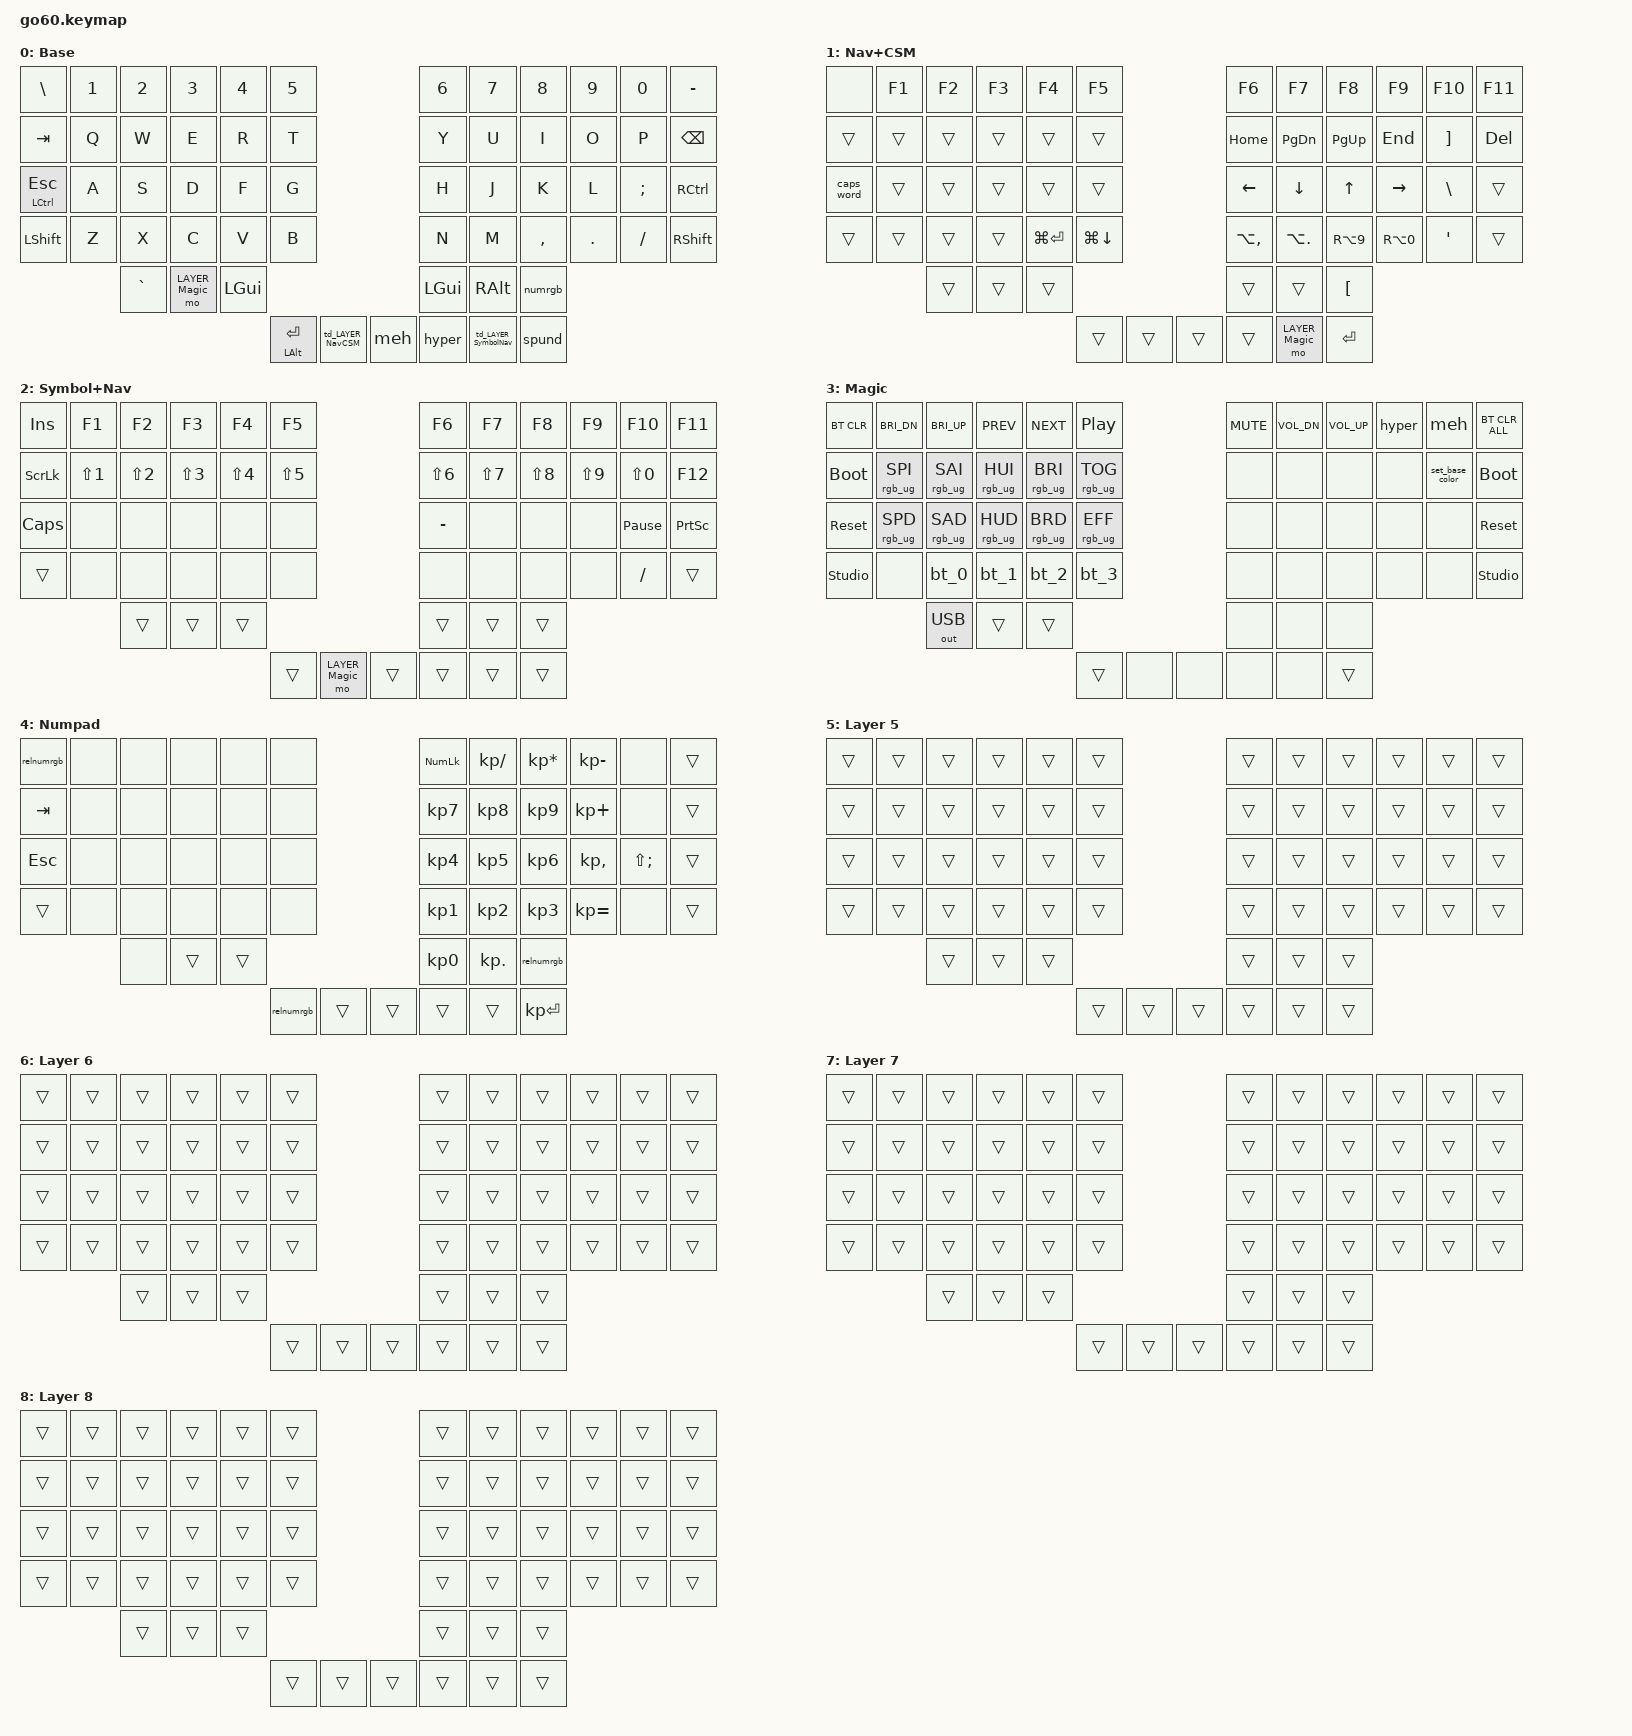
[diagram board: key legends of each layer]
/*
 * Copyright (c) 2020 The ZMK Contributors
 *
 * SPDX-License-Identifier: MIT
 */

#include <behaviors.dtsi>

#include <dt-bindings/zmk/bt.h>
#include <dt-bindings/zmk/ext_power.h>
#include <dt-bindings/zmk/keys.h>
#include <dt-bindings/zmk/outputs.h>
#include <dt-bindings/zmk/rgb.h>
#include <dt-bindings/zmk/input_transform.h>
#include <dt-bindings/zmk/pointing.h>

#include <input/processors.dtsi>
#include <zephyr/dt-bindings/input/input-event-codes.h>

// layers
#define LAYER_Base 0
#define LAYER_NavCSM 1
#define LAYER_SymbolNav 2
#define LAYER_Magic 3
#define LAYER_Numpad 4

/ {
    input_processors {
        zip_click_to_right_click_mapper: zip_click_to_right_click_mapper {
            compatible = "zmk,input-processor-code-mapper";
            #input-processor-cells = <0>;
            type = <INPUT_EV_KEY>;
            map = <INPUT_BTN_0 INPUT_BTN_1>;
        };
    };

    behaviors {
        magic: magic {
            compatible = "zmk,behavior-hold-tap";
            #binding-cells = <2>;
            flavor = "tap-preferred";
            tapping-term-ms = <200>;
            bindings = <&mo>, <&rgb_ug_status_macro>;
        };

        spund: space_underscore {
            compatible = "zmk,behavior-mod-morph";
            #binding-cells = <0>;
            bindings = <&kp SPC>, <&kp UNDER>;
            mods = <(MOD_LSFT|MOD_RSFT)>;
        };

        td_LAYER_NavCSM: td_LAYER_NavCSM {
            compatible = "zmk,behavior-tap-dance";
            #binding-cells = <0>;
            tapping-term-ms = <200>;
            bindings = <&mo LAYER_NavCSM>, <&to LAYER_NavCSM>;
        };

        td_LAYER_SymbolNav: td_LAYER_SymbolNav {
            compatible = "zmk,behavior-tap-dance";
            #binding-cells = <0>;
            tapping-term-ms = <200>;
            bindings = <&mo LAYER_SymbolNav>, <&to LAYER_SymbolNav>;
        };

        bt_0: bt_0 {
            compatible = "zmk,behavior-tap-dance";
            #binding-cells = <0>;
            tapping-term-ms = <200>;
            bindings = <&bt_select_0>, <&bt BT_DISC 0>;
        };
        bt_1: bt_1 {
            compatible = "zmk,behavior-tap-dance";
            #binding-cells = <0>;
            tapping-term-ms = <200>;
            bindings = <&bt_select_1>, <&bt BT_DISC 1>;
        };
        bt_2: bt_2 {
            compatible = "zmk,behavior-tap-dance";
            #binding-cells = <0>;
            tapping-term-ms = <200>;
            bindings = <&bt_select_2>, <&bt BT_DISC 2>;
        };
        bt_3: bt_3 {
            compatible = "zmk,behavior-tap-dance";
            #binding-cells = <0>;
            tapping-term-ms = <200>;
            bindings = <&bt_select_3>, <&bt BT_DISC 3>;
        };
    };

    macros {
        set_base_color: set_base_color {
            compatible = "zmk,behavior-macro";
            #binding-cells = <0>;
            bindings = <&macro_tap>
                , <&rgb_ug RGB_COLOR_HSB(216, 100, 50)>;
        };

        set_numpad_color: set_numpad_color {
            compatible = "zmk,behavior-macro";
            #binding-cells = <0>;
            bindings = <&macro_tap>
                , <&rgb_ug RGB_COLOR_HSB(160, 100, 50)>;
        };

        numrgb: numrgb {
            compatible = "zmk,behavior-macro";
            #binding-cells = <0>;
            bindings = <&tog LAYER_Numpad>
                , <&macro_tap>
                , <&set_numpad_color>;
        };

        relnumrgb: relnumrgb {
            compatible = "zmk,behavior-macro";
            #binding-cells = <0>;
            bindings = <&tog LAYER_Numpad>
                , <&macro_tap>
                , <&set_base_color>;
        };

        rgb_ug_status_macro: rgb_ug_status_macro {
            compatible = "zmk,behavior-macro";
            #binding-cells = <0>;
            bindings = <&rgb_ug RGB_STATUS>;
        };

        hyper: hyper {
            compatible = "zmk,behavior-macro";
            #binding-cells = <0>;
            bindings
                = <&macro_press &kp LCTRL &kp LALT &kp LSHFT &kp LGUI>
                , <&macro_pause_for_release>
                , <&macro_release &kp LCTRL &kp LALT &kp LSHFT &kp LGUI>;
        };

        meh: meh {
            compatible = "zmk,behavior-macro";
            #binding-cells = <0>;
            bindings
                = <&macro_press &kp LCTRL &kp LALT &kp LSHFT>
                , <&macro_pause_for_release>
                , <&macro_release &kp LCTRL &kp LALT &kp LSHFT>;
        };

        bt_select_0: bt_select_0 {
            compatible = "zmk,behavior-macro";
            #binding-cells = <0>;
            bindings
                = <&out OUT_BLE>,
                  <&bt BT_SEL 0>;
        };
        bt_select_1: bt_select_1 {
            compatible = "zmk,behavior-macro";
            #binding-cells = <0>;
            bindings
                = <&out OUT_BLE>,
                  <&bt BT_SEL 1>;
        };
        bt_select_2: bt_select_2 {
            compatible = "zmk,behavior-macro";
            #binding-cells = <0>;
            bindings
                = <&out OUT_BLE>,
                  <&bt BT_SEL 2>;
        };
        bt_select_3: bt_select_3 {
            compatible = "zmk,behavior-macro";
            #binding-cells = <0>;
            bindings
                = <&out OUT_BLE>,
                  <&bt BT_SEL 3>;
        };
    };

    keymap {
        compatible = "zmk,keymap";


        layer_Base {
            display-name = "Base";
            bindings = <
      &kp BSLH  &kp N1     &kp N2           &kp N3    &kp N4  &kp N5                                                                                                         &kp N6    &kp N7     &kp N8   &kp N9    &kp N0  &kp MINUS
       &kp TAB   &kp Q      &kp W            &kp E     &kp R   &kp T                                                                                                          &kp Y     &kp U      &kp I    &kp O     &kp P   &kp BSPC
 &mt LCTRL ESC   &kp A      &kp S            &kp D     &kp F   &kp G                                                                                                          &kp H     &kp J      &kp K    &kp L  &kp SEMI  &kp RCTRL
     &kp LSHFT   &kp Z      &kp X            &kp C     &kp V   &kp B                                                                                                          &kp N     &kp M  &kp COMMA  &kp DOT  &kp FSLH  &kp RSHFT
                        &kp GRAVE  &mo LAYER_Magic  &kp LGUI                                                                                                                         &kp LGUI   &kp RALT  &numrgb
                                                                       &mt LALT RET  &td_LAYER_NavCSM  &meh  &hyper  &td_LAYER_SymbolNav  &spund
            >;
        };

        layer_NavCSM {
            display-name = "Nav+CSM";
            bindings = <
      &none  &kp F1  &kp F2  &kp F3       &kp F4        &kp F5                                                                                &kp F6       &kp F7      &kp F8      &kp F9   &kp F10  &kp F11
     &trans  &trans  &trans  &trans       &trans        &trans                                                                              &kp HOME    &kp PG_DN   &kp PG_UP     &kp END  &kp RBKT  &kp DEL
 &caps_word  &trans  &trans  &trans       &trans        &trans                                                                              &kp LEFT     &kp DOWN      &kp UP   &kp RIGHT  &kp BSLH   &trans
     &trans  &trans  &trans  &trans  &kp LG(RET)  &kp LG(DOWN)                                                                         &kp LA(COMMA)  &kp LA(DOT)  &kp RA(N9)  &kp RA(N0)   &kp SQT   &trans
                     &trans  &trans       &trans                                                                                                           &trans      &trans    &kp LBKT
                                                                &trans  &trans  &trans  &trans  &mo LAYER_Magic  &kp RET
            >;
        };

        layer_SymbolNav {
            display-name = "Symbol+Nav";
            bindings = <
  &kp INS      &kp F1      &kp F2      &kp F3      &kp F4      &kp F5                                                               &kp F6      &kp F7      &kp F8      &kp F9          &kp F10    &kp F11
 &kp SLCK  &kp LS(N1)  &kp LS(N2)  &kp LS(N3)  &kp LS(N4)  &kp LS(N5)                                                           &kp LS(N6)  &kp LS(N7)  &kp LS(N8)  &kp LS(N9)       &kp LS(N0)    &kp F12
 &kp CAPS       &none       &none       &none       &none       &none                                                            &kp MINUS       &none       &none       &none  &kp PAUSE_BREAK  &kp PSCRN
   &trans       &none       &none       &none       &none       &none                                                                &none       &none       &none       &none         &kp FSLH     &trans
                           &trans      &trans      &trans                                                                                       &trans      &trans      &trans
                                                                       &trans  &mo LAYER_Magic  &trans  &trans  &trans  &trans
            >;
        };

        layer_Magic {
            display-name = "Magic";
            bindings = <
     &bt BT_CLR     &kp C_BRI_DN     &kp C_BRI_UP       &kp C_PREV       &kp C_NEXT         &kp C_PP                                                  &kp C_MUTE  &kp C_VOL_DN  &kp C_VOL_UP   &hyper           &meh  &bt BT_CLR_ALL
    &bootloader  &rgb_ug RGB_SPI  &rgb_ug RGB_SAI  &rgb_ug RGB_HUI  &rgb_ug RGB_BRI  &rgb_ug RGB_TOG                                                       &none         &none         &none   &none  &set_base_color     &bootloader
     &sys_reset  &rgb_ug RGB_SPD  &rgb_ug RGB_SAD  &rgb_ug RGB_HUD  &rgb_ug RGB_BRD  &rgb_ug RGB_EFF                                                       &none         &none         &none   &none            &none      &sys_reset
 &studio_unlock            &none            &bt_0            &bt_1            &bt_2            &bt_3                                                       &none         &none         &none   &none            &none  &studio_unlock
                                     &out OUT_USB           &trans           &trans                                                                                      &none         &none   &none
                                                                                                      &trans   &none   &none   &none   &none  &trans
            >;
        };

        layer_Numpad {
            display-name = "Numpad";
            bindings = <
  &relnumrgb   &none   &none   &none   &none   &none                                                            &kp KP_NUM  &kp KP_SLASH  &kp KP_MULTIPLY  &kp KP_MINUS         &none  &trans
     &kp TAB   &none   &none   &none   &none   &none                                                             &kp KP_N7     &kp KP_N8        &kp KP_N9   &kp KP_PLUS         &none  &trans
     &kp ESC   &none   &none   &none   &none   &none                                                             &kp KP_N4     &kp KP_N5        &kp KP_N6  &kp KP_COMMA  &kp LS(SEMI)  &trans
      &trans   &none   &none   &none   &none   &none                                                             &kp KP_N1     &kp KP_N2        &kp KP_N3  &kp KP_EQUAL         &none  &trans
                       &none  &trans  &trans                                                                                   &kp KP_N0       &kp KP_DOT    &relnumrgb
                                                      &relnumrgb  &trans  &trans  &trans  &trans  &kp KP_ENTER
            >;
        };

        layer_5 {
            display-name = "Layer 5";
            bindings = <
      &trans  &trans  &trans  &trans  &trans  &trans                                                                 &trans  &trans  &trans  &trans  &trans  &trans
      &trans  &trans  &trans  &trans  &trans  &trans                                                                 &trans  &trans  &trans  &trans  &trans  &trans
      &trans  &trans  &trans  &trans  &trans  &trans                                                                 &trans  &trans  &trans  &trans  &trans  &trans
      &trans  &trans  &trans  &trans  &trans  &trans                                                                 &trans  &trans  &trans  &trans  &trans  &trans
                       &trans  &trans  &trans                                                                       &trans  &trans  &trans
                                                       &trans  &trans  &trans  &trans  &trans  &trans
            >;
        };

        layer_6 {
            display-name = "Layer 6";
            bindings = <
      &trans  &trans  &trans  &trans  &trans  &trans                                                                 &trans  &trans  &trans  &trans  &trans  &trans
      &trans  &trans  &trans  &trans  &trans  &trans                                                                 &trans  &trans  &trans  &trans  &trans  &trans
      &trans  &trans  &trans  &trans  &trans  &trans                                                                 &trans  &trans  &trans  &trans  &trans  &trans
      &trans  &trans  &trans  &trans  &trans  &trans                                                                 &trans  &trans  &trans  &trans  &trans  &trans
                       &trans  &trans  &trans                                                                       &trans  &trans  &trans
                                                       &trans  &trans  &trans  &trans  &trans  &trans
            >;
        };

        layer_7 {
            display-name = "Layer 7";
            bindings = <
      &trans  &trans  &trans  &trans  &trans  &trans                                                                 &trans  &trans  &trans  &trans  &trans  &trans
      &trans  &trans  &trans  &trans  &trans  &trans                                                                 &trans  &trans  &trans  &trans  &trans  &trans
      &trans  &trans  &trans  &trans  &trans  &trans                                                                 &trans  &trans  &trans  &trans  &trans  &trans
      &trans  &trans  &trans  &trans  &trans  &trans                                                                 &trans  &trans  &trans  &trans  &trans  &trans
                       &trans  &trans  &trans                                                                       &trans  &trans  &trans
                                                       &trans  &trans  &trans  &trans  &trans  &trans
            >;
        };

        layer_8 {
            display-name = "Layer 8";
            bindings = <
      &trans  &trans  &trans  &trans  &trans  &trans                                                                 &trans  &trans  &trans  &trans  &trans  &trans
      &trans  &trans  &trans  &trans  &trans  &trans                                                                 &trans  &trans  &trans  &trans  &trans  &trans
      &trans  &trans  &trans  &trans  &trans  &trans                                                                 &trans  &trans  &trans  &trans  &trans  &trans
      &trans  &trans  &trans  &trans  &trans  &trans                                                                 &trans  &trans  &trans  &trans  &trans  &trans
                       &trans  &trans  &trans                                                                       &trans  &trans  &trans
                                                       &trans  &trans  &trans  &trans  &trans  &trans
            >;
        };

    };
};


&cirque_rh_listener {
    input-processors = <&zip_xy_scaler 6 5>;
    layer_2 {
        layers = <LAYER_SymbolNav>;
        input-processors = <&zip_xy_scaler 9 1>;
    };
};

&cirque_lh_listener {
    input-processors = <&zip_xy_to_scroll_mapper>, <&zip_xy_scaler 11 12>, <&zip_xy_transform INPUT_TRANSFORM_Y_INVERT>, <&zip_click_to_right_click_mapper>, <&zip_scroll_scaler 1 8>;
};
